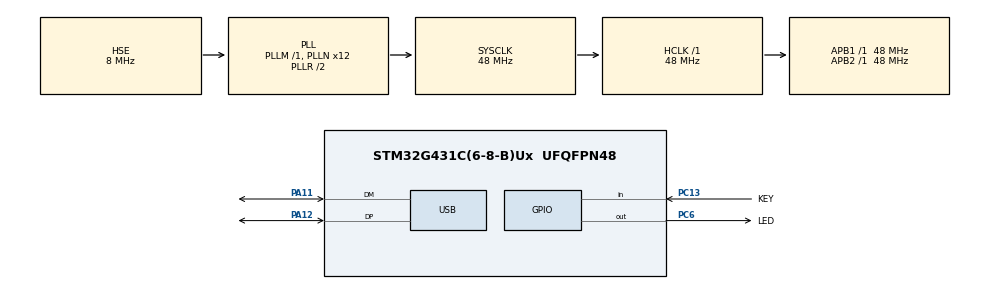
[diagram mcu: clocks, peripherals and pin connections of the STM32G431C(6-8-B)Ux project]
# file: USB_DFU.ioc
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Mcu.Family=STM32G4
Mcu.Name=STM32G431C(6-8-B)Ux
Mcu.Package=UFQFPN48
NVIC.PriorityGroup=NVIC_PRIORITYGROUP_4
NVIC.USB_LP_IRQn=true\:0\:0\:false\:false\:true\:false\:true\:true
PA11.Mode=Device
PA11.Signal=USB_DM
PA12.Mode=Device
PA12.Signal=USB_DP
PA13.Mode=Serial_Wire
PA13.Signal=SYS_JTMS-SWDIO
PA14.Mode=Serial_Wire
PA14.Signal=SYS_JTCK-SWCLK
PC13.GPIO_Label=KEY
PC13.GPIO_PuPd=GPIO_PULLDOWN
PC13.Signal=GPIO_Input
PC6.GPIO_Label=LED
PC6.Signal=GPIO_Output
PF0-OSC_IN.Mode=HSE-External-Oscillator
PF0-OSC_IN.Signal=RCC_OSC_IN
PF1-OSC_OUT.Mode=HSE-External-Oscillator
PF1-OSC_OUT.Signal=RCC_OSC_OUT
ProjectManager.HeapSize=0x200
ProjectManager.StackSize=0x400
ProjectManager.TargetToolchain=STM32CubeIDE
RCC.ADC12Freq_Value=48000000
RCC.AHBFreq_Value=48000000
RCC.APB1Freq_Value=48000000
RCC.APB1TimFreq_Value=48000000
RCC.APB2Freq_Value=48000000
RCC.APB2TimFreq_Value=48000000
RCC.CortexFreq_Value=48000000
RCC.EXTERNAL_CLOCK_VALUE=12288000
RCC.HCLKFreq_Value=48000000
RCC.HSE_VALUE=8000000
RCC.HSI48_VALUE=48000000
RCC.HSI_VALUE=16000000
RCC.LSE_VALUE=32768
RCC.PLLN=12
RCC.PLLSourceVirtual=RCC_PLLSOURCE_HSE
RCC.SYSCLKFreq_VALUE=48000000
RCC.SYSCLKSource=RCC_SYSCLKSOURCE_PLLCLK
RCC.USBFreq_Value=48000000
RCC.VCOOutputFreq_Value=96000000
USB_DEVICE.CLASS_NAME_FS=DFU
USB_DEVICE.MANUFACTURER_STRING=Avislab
USB_DEVICE.USBD_DFU_APP_DEFAULT_ADD=0x08008000
USB_DEVICE.USBD_DFU_MEDIA=@Internal Flash   /0x08000000/01*032Ka,047*002Kg,01*002Ka
USB_DEVICE.USBD_DFU_XFER_SIZE=1024
USB_DEVICE.VirtualMode=Dfu
USB_DEVICE.VirtualModeFS=Dfu_FS
VP_SYS_VS_DBSignals.Mode=DisableDeadBatterySignals
VP_USB_DEVICE_VS_USB_DEVICE_DFU_FS.Mode=DFU_FS
board=custom

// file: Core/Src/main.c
/* USER CODE BEGIN Header */
/**
  ******************************************************************************
  * @file           : main.c
  * @brief          : Main program body
  ******************************************************************************
  * @attention
  *
  * Copyright (c) 2025 STMicroelectronics.
  * All rights reserved.
  *
  * This software is licensed under terms that can be found in the LICENSE file
  * in the root directory of this software component.
  * If no LICENSE file comes with this software, it is provided AS-IS.
  *
  ******************************************************************************
  */
/* USER CODE END Header */
#include "main.h"
#include "usb_device.h"

/* USER CODE BEGIN Includes */
#include "usbd_core.h"
/* USER CODE END Includes */

/* USER CODE BEGIN PV */

extern USBD_HandleTypeDef hUsbDeviceFS;

/* USER CODE END PV */

void SystemClock_Config(void);
static void MX_GPIO_Init(void);

/* USER CODE BEGIN 0 */

void GoToUserApp(void)
{
	uint32_t appJumpAddress;
	void (*GoToApp)(void);

	appJumpAddress = *((volatile uint32_t*)(USBD_DFU_APP_DEFAULT_ADD + 4));
	GoToApp = (void (*)(void))appJumpAddress;
	SCB->VTOR = USBD_DFU_APP_DEFAULT_ADD;
	__set_MSP(*((volatile uint32_t*) USBD_DFU_APP_DEFAULT_ADD)); //stack pointer (to RAM) for USER app in this address
	GoToApp();
}

/* USER CODE END 0 */

int main(void)
{

  /* MCU Configuration--------------------------------------------------------*/

  /* Reset of all peripherals, Initializes the Flash interface and the Systick. */
  HAL_Init();

  /* Configure the system clock */
  SystemClock_Config();

  /* Initialize all configured peripherals */
  MX_GPIO_Init();
  MX_USB_Device_Init();
  /* USER CODE BEGIN 2 */

	// Check if the KEY Button is pressed
	if(HAL_GPIO_ReadPin(KEY_GPIO_Port, KEY_Pin ) == GPIO_PIN_RESET)
	{
		HAL_GPIO_DeInit(LED_GPIO_Port, LED_Pin);
		HAL_GPIO_DeInit(KEY_GPIO_Port, KEY_Pin);
		USBD_DeInit(&hUsbDeviceFS);

		GoToUserApp();
	}

  /* USER CODE END 2 */

  /* Infinite loop */
  /* USER CODE BEGIN WHILE */
  while (1)
  {
	  HAL_GPIO_TogglePin(LED_GPIO_Port, LED_Pin);
	  HAL_Delay(100);

    /* USER CODE END WHILE */

  }
}

void SystemClock_Config(void)
{
  RCC_OscInitTypeDef RCC_OscInitStruct = {0};
  RCC_ClkInitTypeDef RCC_ClkInitStruct = {0};

  /** Configure the main internal regulator output voltage
  */
  HAL_PWREx_ControlVoltageScaling(PWR_REGULATOR_VOLTAGE_SCALE1);

  /** Initializes the RCC Oscillators according to the specified parameters
  * in the RCC_OscInitTypeDef structure.
  */
  RCC_OscInitStruct.OscillatorType = RCC_OSCILLATORTYPE_HSE;
  RCC_OscInitStruct.HSEState = RCC_HSE_ON;
  RCC_OscInitStruct.PLL.PLLState = RCC_PLL_ON;
  RCC_OscInitStruct.PLL.PLLSource = RCC_PLLSOURCE_HSE;
  RCC_OscInitStruct.PLL.PLLM = RCC_PLLM_DIV1;
  RCC_OscInitStruct.PLL.PLLN = 12;
  RCC_OscInitStruct.PLL.PLLP = RCC_PLLP_DIV2;
  RCC_OscInitStruct.PLL.PLLQ = RCC_PLLQ_DIV2;
  RCC_OscInitStruct.PLL.PLLR = RCC_PLLR_DIV2;
  if (HAL_RCC_OscConfig(&RCC_OscInitStruct) != HAL_OK)
  {
    Error_Handler();
  }

  /** Initializes the CPU, AHB and APB buses clocks
  */
  RCC_ClkInitStruct.ClockType = RCC_CLOCKTYPE_HCLK|RCC_CLOCKTYPE_SYSCLK
                              |RCC_CLOCKTYPE_PCLK1|RCC_CLOCKTYPE_PCLK2;
  RCC_ClkInitStruct.SYSCLKSource = RCC_SYSCLKSOURCE_PLLCLK;
  RCC_ClkInitStruct.AHBCLKDivider = RCC_SYSCLK_DIV1;
  RCC_ClkInitStruct.APB1CLKDivider = RCC_HCLK_DIV1;
  RCC_ClkInitStruct.APB2CLKDivider = RCC_HCLK_DIV1;

  if (HAL_RCC_ClockConfig(&RCC_ClkInitStruct, FLASH_LATENCY_1) != HAL_OK)
  {
    Error_Handler();
  }
}

static void MX_GPIO_Init(void)
{
  GPIO_InitTypeDef GPIO_InitStruct = {0};

  /* GPIO Ports Clock Enable */
  __HAL_RCC_GPIOC_CLK_ENABLE();
  __HAL_RCC_GPIOF_CLK_ENABLE();
  __HAL_RCC_GPIOA_CLK_ENABLE();

  /*Configure GPIO pin Output Level */
  HAL_GPIO_WritePin(LED_GPIO_Port, LED_Pin, GPIO_PIN_RESET);

  /*Configure GPIO pin : KEY_Pin */
  GPIO_InitStruct.Pin = KEY_Pin;
  GPIO_InitStruct.Mode = GPIO_MODE_INPUT;
  GPIO_InitStruct.Pull = GPIO_PULLDOWN;
  HAL_GPIO_Init(KEY_GPIO_Port, &GPIO_InitStruct);

  /*Configure GPIO pin : LED_Pin */
  GPIO_InitStruct.Pin = LED_Pin;
  GPIO_InitStruct.Mode = GPIO_MODE_OUTPUT_PP;
  GPIO_InitStruct.Pull = GPIO_NOPULL;
  GPIO_InitStruct.Speed = GPIO_SPEED_FREQ_LOW;
  HAL_GPIO_Init(LED_GPIO_Port, &GPIO_InitStruct);

}

void Error_Handler(void)
{
  __disable_irq();
  while (1)
  {
  }
}
